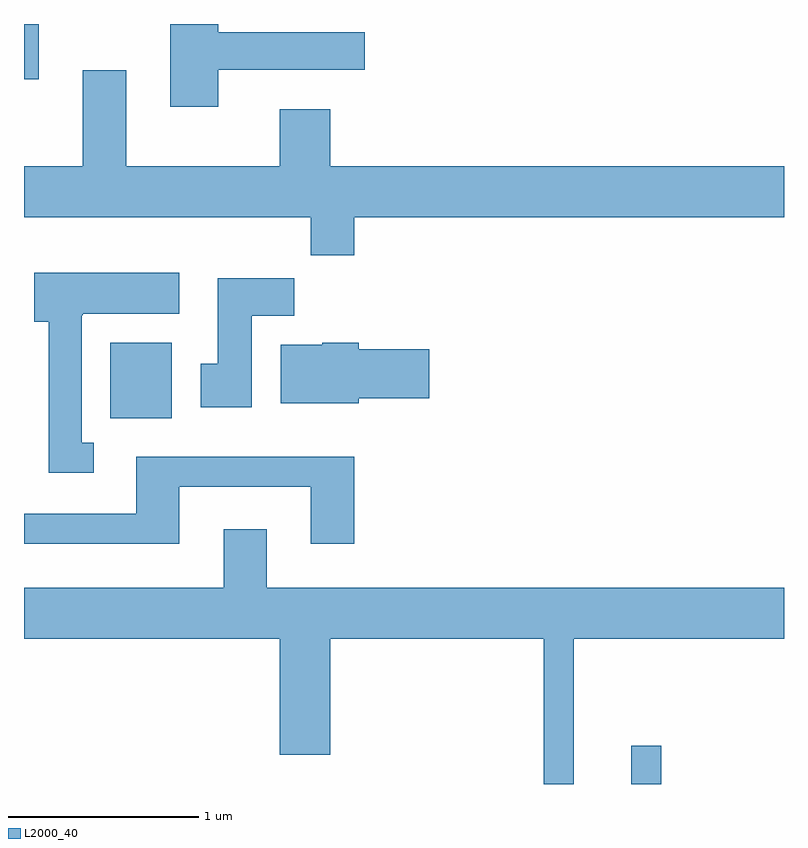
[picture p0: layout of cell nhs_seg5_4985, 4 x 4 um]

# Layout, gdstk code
import gdstk
lib = gdstk.Library(unit=1e-6, precision=1e-09)
def R(c, l, rs):  # rectangles x0, y0, x1, y1
    for r in rs: c.add(gdstk.rectangle(r[:2], r[2:], *l))
def P(c, l, *ps):  # polygons
    for p in ps: c.add(gdstk.Polygon(p, *l))
L2000_40 = (2000, 40)

nhs_seg5_4985 = lib.new_cell('nhs_seg5_4985')
R(nhs_seg5_4985, L2000_40, [(336.806,1416.072,336.964,1416.273), (334.066,1417.996,334.389,1418.394), (333.611,1419.781,333.689,1420.072)])
P(nhs_seg5_4985, L2000_40, [(334.634,1419.831),(335.404,1419.831),(335.404,1420.029),(334.634,1420.029),(334.634,1420.072),(334.381,1420.072),(334.381,1419.636),(334.634,1419.636)],
  [(335.349,1419.056),(337.611,1419.056),(337.611,1419.324),(335.224,1419.324),(335.224,1419.624),(334.956,1419.624),(334.956,1419.324),(334.149,1419.324),(334.149,1419.829),(333.921,1419.829),(333.921,1419.324),(333.611,1419.324),(333.611,1419.056),(335.121,1419.056),(335.121,1418.856),(335.349,1418.856)],
  [(333.978,1417.869),(333.914,1417.869),(333.914,1418.54),(333.92,1418.54),(333.92,1418.546),(334.429,1418.546),(334.429,1418.764),(333.666,1418.764),(333.666,1418.506),(333.741,1418.506),(333.741,1417.711),(333.978,1417.711)],
  [(334.809,1418.536),(335.034,1418.536),(335.034,1418.734),(334.631,1418.734),(334.631,1418.284),(334.541,1418.284),(334.541,1418.056),(334.809,1418.056)],
  [(335.374,1418.101),(335.744,1418.101),(335.744,1418.359),(335.374,1418.359),(335.374,1418.394),(335.18,1418.394),(335.18,1418.384),(334.961,1418.384),(334.961,1418.076),(335.374,1418.076)],
  [(334.429,1417.636),(335.121,1417.636),(335.121,1417.336),(335.349,1417.336),(335.349,1417.794),(334.201,1417.794),(334.201,1417.494),(333.611,1417.494),(333.611,1417.336),(334.429,1417.336)],
  [(336.504,1416.836),(337.611,1416.836),(337.611,1417.104),(334.889,1417.104),(334.889,1417.414),(334.661,1417.414),(334.661,1417.104),(333.611,1417.104),(333.611,1416.836),(334.956,1416.836),(334.956,1416.226),(335.224,1416.226),(335.224,1416.836),(336.346,1416.836),(336.346,1416.072),(336.504,1416.072)])

lib.write_gds('nhs_seg5_4985.gds')
